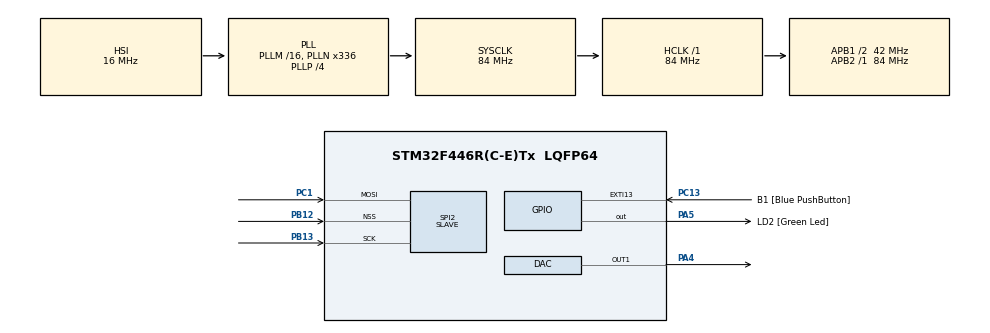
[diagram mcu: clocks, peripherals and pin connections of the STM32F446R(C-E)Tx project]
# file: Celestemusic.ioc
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DAC.DAC_Trigger=DAC_TRIGGER_T6_TRGO
Dma.DAC1.0.Direction=DMA_MEMORY_TO_PERIPH
Dma.DAC1.0.FIFOMode=DMA_FIFOMODE_DISABLE
Dma.DAC1.0.Instance=DMA1_Stream5
Dma.DAC1.0.MemDataAlignment=DMA_MDATAALIGN_HALFWORD
Dma.DAC1.0.MemInc=DMA_MINC_ENABLE
Dma.DAC1.0.Mode=DMA_CIRCULAR
Dma.DAC1.0.PeriphDataAlignment=DMA_PDATAALIGN_HALFWORD
Dma.DAC1.0.PeriphInc=DMA_PINC_DISABLE
Dma.DAC1.0.Priority=DMA_PRIORITY_LOW
Dma.Request0=DAC1
Mcu.Family=STM32F4
Mcu.Name=STM32F446R(C-E)Tx
Mcu.Package=LQFP64
NVIC.DMA1_Stream5_IRQn=true\:0\:0\:false\:false\:true\:false\:true\:true
NVIC.PriorityGroup=NVIC_PRIORITYGROUP_0
PA13.GPIO_Label=TMS
PA13.Signal=SYS_JTMS-SWDIO
PA14.GPIO_Label=TCK
PA14.Signal=SYS_JTCK-SWCLK
PA2.GPIO_Label=USART_TX
PA2.Signal=USART2_TX
PA3.GPIO_Label=USART_RX
PA3.Signal=USART2_RX
PA4.Signal=COMP_DAC1_group
PA5.GPIO_Label=LD2 [Green Led]
PA5.Signal=GPIO_Output
PB12.Mode=NSS_Signal_Hard_Input
PB12.Signal=SPI2_NSS
PB13.Mode=RX_Only_Simplex_Unidirect_Slave
PB13.Signal=SPI2_SCK
PB3.GPIO_Label=SWO
PB3.Signal=SYS_JTDO-SWO
PC1.Mode=RX_Only_Simplex_Unidirect_Slave
PC1.Signal=SPI2_MOSI
PC13.GPIO_Label=B1 [Blue PushButton]
PC13.GPIO_ModeDefaultEXTI=GPIO_MODE_IT_FALLING
PC13.Signal=GPXTI13
PC14-OSC32_IN.Signal=RCC_OSC32_IN
PC15-OSC32_OUT.Signal=RCC_OSC32_OUT
PH0-OSC_IN.Signal=RCC_OSC_IN
PH1-OSC_OUT.Signal=RCC_OSC_OUT
ProjectManager.HeapSize=0x200
ProjectManager.StackSize=0x400
ProjectManager.TargetToolchain=STM32CubeIDE
RCC.AHBFreq_Value=84000000
RCC.APB1CLKDivider=RCC_HCLK_DIV2
RCC.APB1Freq_Value=42000000
RCC.APB1TimFreq_Value=84000000
RCC.APB2Freq_Value=84000000
RCC.APB2TimFreq_Value=84000000
RCC.CortexFreq_Value=84000000
RCC.FLatency-AdvancedSettings=FLASH_LATENCY_2
RCC.HCLKFreq_Value=84000000
RCC.HSE_VALUE=8000000
RCC.HSI_VALUE=16000000
RCC.LSE_VALUE=32768
RCC.PLLN=336
RCC.PLLP=RCC_PLLP_DIV4
RCC.SYSCLKFreq_VALUE=84000000
RCC.SYSCLKSource=RCC_SYSCLKSOURCE_PLLCLK
RCC.USBFreq_Value=168000000
RCC.VCOOutputFreq_Value=336000000
SH.COMP_DAC1_group.0=DAC_OUT1,DAC_OUT1
SPI2.Direction=SPI_DIRECTION_2LINES_RXONLY
SPI2.Mode=SPI_MODE_SLAVE
SPI2.VirtualNSS=VM_NSSHARD
SPI2.VirtualType=VM_SLAVE
TIM6.Period=1000-1
TIM6.TIM_MasterOutputTrigger=TIM_TRGO_UPDATE
VP_TIM6_VS_ClockSourceINT.Mode=Enable_Timer
board=NUCLEO-F446RE

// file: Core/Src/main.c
/* USER CODE BEGIN Header */
/**
  ******************************************************************************
  * @file           : main.c
  * @brief          : Main program body
  ******************************************************************************
  * @attention
  *
  * Copyright (c) 2026 STMicroelectronics.
  * All rights reserved.
  *
  * This software is licensed under terms that can be found in the LICENSE file
  * in the root directory of this software component.
  * If no LICENSE file comes with this software, it is provided AS-IS.
  *
  ******************************************************************************
  */
/* USER CODE END Header */
#include "main.h"

/* USER CODE BEGIN Includes */
#include "../../main_menu.h"
#include "../../main_theme.h"

/* USER CODE END Includes */

/* USER CODE BEGIN PTD */
typedef struct
{
  const uint16_t *frequencies;
  const uint16_t *durations;
  uint16_t length;
  uint8_t command;
} MusicTrack_t;

/* USER CODE END PTD */

/* USER CODE BEGIN PD */
#define MUSIC_TIM6_CLOCK_HZ 84000000ULL
#define MUSIC_SINE_SAMPLE_COUNT 128U
#define MUSIC_TIM6_ARR_MIN 1U
#define MUSIC_TIM6_ARR_MAX 65535U
#define MUSIC_DAC_SILENCE 2048U
#define MUSIC_VOLUME_PERCENT 50U
#define MUSIC_COMMAND_NONE 0U
#define MUSIC_COMMAND_MENU ((uint8_t)'M')
#define MUSIC_COMMAND_THEME ((uint8_t)'T')

#if MUSIC_VOLUME_PERCENT > 100U
#error "MUSIC_VOLUME_PERCENT debe estar entre 0 y 100"
#endif

/* USER CODE END PD */

DAC_HandleTypeDef hdac;
DMA_HandleTypeDef hdma_dac1;

SPI_HandleTypeDef hspi2;

TIM_HandleTypeDef htim6;

/* USER CODE BEGIN PV */
/* Una vuelta completa de la onda que genera cada nota. */
static const uint16_t music_sine_lut[MUSIC_SINE_SAMPLE_COUNT] =
{
  2048, 2148, 2248, 2348, 2447, 2545, 2642, 2737,
  2831, 2923, 3013, 3100, 3185, 3267, 3346, 3423,
  3495, 3565, 3630, 3692, 3750, 3804, 3853, 3898,
  3939, 3975, 4007, 4034, 4056, 4073, 4085, 4093,
  4095, 4093, 4085, 4073, 4056, 4034, 4007, 3975,
  3939, 3898, 3853, 3804, 3750, 3692, 3630, 3565,
  3495, 3423, 3346, 3267, 3185, 3100, 3013, 2923,
  2831, 2737, 2642, 2545, 2447, 2348, 2248, 2148,
  2048, 1947, 1847, 1747, 1648, 1550, 1453, 1358,
  1264, 1172, 1082,  995,  910,  828,  749,  672,
   600,  530,  465,  403,  345,  291,  242,  197,
   156,  120,   88,   61,   39,   22,   10,    2,
     0,    2,   10,   22,   39,   61,   88,  120,
   156,  197,  242,  291,  345,  403,  465,  530,
   600,  672,  749,  828,  910,  995, 1082, 1172,
  1264, 1358, 1453, 1550, 1648, 1747, 1847, 1947
};

/* Conserva el centro del DAC y cambia solamente la amplitud. */
static uint16_t music_output_lut[MUSIC_SINE_SAMPLE_COUNT];

static const MusicTrack_t music_tracks[] =
{
  {main_menu_freqs, main_menu_durations, MAIN_MENU_LEN, MUSIC_COMMAND_MENU},
  {main_theme_freqs, main_theme_durations, MAIN_THEME_LEN, MUSIC_COMMAND_THEME}
};

static volatile uint8_t music_pending_command = MUSIC_COMMAND_NONE;
static const MusicTrack_t *music_active_track;
static uint8_t music_active_command = MUSIC_COMMAND_NONE;
static uint16_t music_note_index;
static uint32_t music_note_deadline_ms;
static uint8_t music_note_started;
static volatile uint32_t music_spi_valid_commands;
static volatile uint32_t music_spi_errors;
static volatile uint8_t music_spi_last_command;

/* USER CODE END PV */

void SystemClock_Config(void);
static void MX_GPIO_Init(void);
static void MX_DMA_Init(void);
static void MX_DAC_Init(void);
static void MX_TIM6_Init(void);
static void MX_SPI2_Init(void);
/* USER CODE BEGIN PFP */
static uint32_t Music_CalculateTimerPeriod(uint16_t frequency_hz);
static void Music_PrepareOutputLut(void);
static void Music_ReadSpi(void);
static void Music_SetFrequency(uint16_t frequency_hz);
static const MusicTrack_t *Music_FindTrack(uint8_t command);
static void Music_Select(uint8_t command, uint32_t now_ms);
static void Music_Update(uint32_t now_ms);
static void Music_Init(void);

/* USER CODE END PFP */

/* USER CODE BEGIN 0 */
/* Prepara una onda con el volumen seleccionado, centrada en 2048. */
static void Music_PrepareOutputLut(void)
{
  uint16_t index;

  for (index = 0U; index < MUSIC_SINE_SAMPLE_COUNT; index++)
  {
    int32_t centered =
        (int32_t)music_sine_lut[index] - (int32_t)MUSIC_DAC_SILENCE;

    music_output_lut[index] = (uint16_t)(
        (int32_t)MUSIC_DAC_SILENCE +
        ((centered * (int32_t)MUSIC_VOLUME_PERCENT) / 100));
  }
}

/* Lee un byte de SPI2 sin detener la reproducción. */
static void Music_ReadSpi(void)
{
  uint32_t status = hspi2.Instance->SR;

  if ((status & SPI_SR_OVR) != 0U)
  {
    (void)(*(__IO uint8_t *)&hspi2.Instance->DR);
    (void)hspi2.Instance->SR; /* Leer DR y SR limpia el overrun. */
    music_spi_errors++;
    return;
  }

  if ((status & SPI_SR_RXNE) != 0U)
  {
    uint8_t command = *(__IO uint8_t *)&hspi2.Instance->DR;

    if (command == MUSIC_COMMAND_MENU ||
        command == MUSIC_COMMAND_THEME)
    {
      music_pending_command = command;
      music_spi_last_command = command;
      music_spi_valid_commands++;
    }
    else
    {
      music_spi_errors++;
    }
  }
}

/* Calcula el periodo que produce la frecuencia solicitada. */
static uint32_t Music_CalculateTimerPeriod(uint16_t frequency_hz)
{
  uint64_t divider;
  uint64_t timer_counts;

  if (frequency_hz == 0U)
  {
    return MUSIC_TIM6_ARR_MAX;
  }

  divider = (uint64_t)MUSIC_SINE_SAMPLE_COUNT * frequency_hz;
  timer_counts = (MUSIC_TIM6_CLOCK_HZ + (divider / 2ULL)) / divider;

  if (timer_counts <= ((uint64_t)MUSIC_TIM6_ARR_MIN + 1ULL))
  {
    return MUSIC_TIM6_ARR_MIN;
  }
  if ((timer_counts - 1ULL) > MUSIC_TIM6_ARR_MAX)
  {
    return MUSIC_TIM6_ARR_MAX;
  }

  return (uint32_t)(timer_counts - 1ULL);
}

/* Cambia la frecuencia sin detener el resto del programa. */
static void Music_SetFrequency(uint16_t frequency_hz)
{
  (void)HAL_TIM_Base_Stop(&htim6);

  if (frequency_hz == 0U)
  {
    (void)HAL_DAC_SetValue(&hdac,
                          DAC_CHANNEL_1,
                          DAC_ALIGN_12B_R,
                          MUSIC_DAC_SILENCE);
    if (HAL_TIM_GenerateEvent(&htim6, TIM_EVENTSOURCE_UPDATE) != HAL_OK)
    {
      Error_Handler();
    }
    return;
  }

  __HAL_TIM_SET_AUTORELOAD(&htim6,
                           Music_CalculateTimerPeriod(frequency_hz));
  __HAL_TIM_SET_COUNTER(&htim6, 0U);
  __HAL_TIM_CLEAR_FLAG(&htim6, TIM_FLAG_UPDATE);

  if (HAL_TIM_Base_Start(&htim6) != HAL_OK)
  {
    Error_Handler();
  }
}

/* Busca la canción asociada al byte recibido. */
static const MusicTrack_t *Music_FindTrack(uint8_t command)
{
  uint8_t index;

  for (index = 0U;
       index < (uint8_t)(sizeof(music_tracks) / sizeof(music_tracks[0]));
       index++)
  {
    if (music_tracks[index].command == command)
    {
      return &music_tracks[index];
    }
  }

  return 0;
}

/* Una canción nueva siempre comienza desde su primera nota. */
static void Music_Select(uint8_t command, uint32_t now_ms)
{
  const MusicTrack_t *track = Music_FindTrack(command);

  if (track == 0 || command == music_active_command)
  {
    return;
  }

  Music_SetFrequency(0U);
  music_active_track = track;
  music_active_command = command;
  music_note_index = 0U;
  music_note_deadline_ms = now_ms;
  music_note_started = 0U;

  /* El LED permite comprobar el cambio aun sin conectar la bocina. */
  HAL_GPIO_WritePin(LD2_GPIO_Port,
                    LD2_Pin,
                    command == MUSIC_COMMAND_THEME
                        ? GPIO_PIN_SET
                        : GPIO_PIN_RESET);
}

/* Avanza las notas usando tiempo, sin bloquear la recepción SPI. */
static void Music_Update(uint32_t now_ms)
{
  uint8_t pending_command = music_pending_command;

  if (pending_command != MUSIC_COMMAND_NONE)
  {
    music_pending_command = MUSIC_COMMAND_NONE;
    Music_Select(pending_command, now_ms);
  }

  if (music_active_track == 0)
  {
    Music_Select(MUSIC_COMMAND_MENU, now_ms);
  }

  if (music_note_started != 0U &&
      (int32_t)(now_ms - music_note_deadline_ms) < 0)
  {
    return;
  }

  if (music_note_started != 0U)
  {
    music_note_index++;
    if (music_note_index >= music_active_track->length)
    {
      music_note_index = 0U; /* Repite la canción completa. */
    }
  }

  Music_SetFrequency(music_active_track->frequencies[music_note_index]);
  music_note_deadline_ms =
      now_ms + music_active_track->durations[music_note_index];
  music_note_started = 1U;
}

/* Deja preparado el DAC y escucha el primer comando. */
static void Music_Init(void)
{
  Music_PrepareOutputLut();
  __HAL_SPI_ENABLE(&hspi2); /* El esclavo queda listo para recibir. */

  if (HAL_DAC_Start_DMA(&hdac,
                        DAC_CHANNEL_1,
                        (uint32_t *)music_output_lut,
                        MUSIC_SINE_SAMPLE_COUNT,
                        DAC_ALIGN_12B_R) != HAL_OK)
  {
    Error_Handler();
  }

  Music_Select(MUSIC_COMMAND_MENU, HAL_GetTick());
  Music_Update(HAL_GetTick());
}

/* USER CODE END 0 */

int main(void)
{

  /* MCU Configuration--------------------------------------------------------*/

  /* Reset of all peripherals, Initializes the Flash interface and the Systick. */
  HAL_Init();

  /* Configure the system clock */
  SystemClock_Config();

  /* Initialize all configured peripherals */
  MX_GPIO_Init();
  MX_DMA_Init();
  MX_DAC_Init();
  MX_TIM6_Init();
  MX_SPI2_Init();
  /* USER CODE BEGIN 2 */
  /* Inicia la salida de audio y selecciona el tema del menú. */
  Music_Init();

  /* USER CODE END 2 */

  /* Infinite loop */
  while (1)
  {

    /* USER CODE BEGIN 3 */
    /* Recibe cambios de tema y avanza la canción sin bloquear. */
    Music_ReadSpi();
    Music_Update(HAL_GetTick());
  }
  /* USER CODE END 3 */
}

void SystemClock_Config(void)
{
  RCC_OscInitTypeDef RCC_OscInitStruct = {0};
  RCC_ClkInitTypeDef RCC_ClkInitStruct = {0};

  /** Configure the main internal regulator output voltage
  */
  __HAL_RCC_PWR_CLK_ENABLE();
  __HAL_PWR_VOLTAGESCALING_CONFIG(PWR_REGULATOR_VOLTAGE_SCALE3);

  /** Initializes the RCC Oscillators according to the specified parameters
  * in the RCC_OscInitTypeDef structure.
  */
  RCC_OscInitStruct.OscillatorType = RCC_OSCILLATORTYPE_HSI;
  RCC_OscInitStruct.HSIState = RCC_HSI_ON;
  RCC_OscInitStruct.HSICalibrationValue = RCC_HSICALIBRATION_DEFAULT;
  RCC_OscInitStruct.PLL.PLLState = RCC_PLL_ON;
  RCC_OscInitStruct.PLL.PLLSource = RCC_PLLSOURCE_HSI;
  RCC_OscInitStruct.PLL.PLLM = 16;
  RCC_OscInitStruct.PLL.PLLN = 336;
  RCC_OscInitStruct.PLL.PLLP = RCC_PLLP_DIV4;
  RCC_OscInitStruct.PLL.PLLQ = 2;
  RCC_OscInitStruct.PLL.PLLR = 2;
  if (HAL_RCC_OscConfig(&RCC_OscInitStruct) != HAL_OK)
  {
    Error_Handler();
  }

  /** Initializes the CPU, AHB and APB buses clocks
  */
  RCC_ClkInitStruct.ClockType = RCC_CLOCKTYPE_HCLK|RCC_CLOCKTYPE_SYSCLK
                              |RCC_CLOCKTYPE_PCLK1|RCC_CLOCKTYPE_PCLK2;
  RCC_ClkInitStruct.SYSCLKSource = RCC_SYSCLKSOURCE_PLLCLK;
  RCC_ClkInitStruct.AHBCLKDivider = RCC_SYSCLK_DIV1;
  RCC_ClkInitStruct.APB1CLKDivider = RCC_HCLK_DIV2;
  RCC_ClkInitStruct.APB2CLKDivider = RCC_HCLK_DIV1;

  if (HAL_RCC_ClockConfig(&RCC_ClkInitStruct, FLASH_LATENCY_2) != HAL_OK)
  {
    Error_Handler();
  }
}

static void MX_DAC_Init(void)
{

  DAC_ChannelConfTypeDef sConfig = {0};

  /** DAC Initialization
  */
  hdac.Instance = DAC;
  if (HAL_DAC_Init(&hdac) != HAL_OK)
  {
    Error_Handler();
  }

  /** DAC channel OUT1 config
  */
  sConfig.DAC_Trigger = DAC_TRIGGER_T6_TRGO;
  sConfig.DAC_OutputBuffer = DAC_OUTPUTBUFFER_ENABLE;
  if (HAL_DAC_ConfigChannel(&hdac, &sConfig, DAC_CHANNEL_1) != HAL_OK)
  {
    Error_Handler();
  }

}

static void MX_SPI2_Init(void)
{

  /* SPI2 parameter configuration*/
  hspi2.Instance = SPI2;
  hspi2.Init.Mode = SPI_MODE_SLAVE;
  hspi2.Init.Direction = SPI_DIRECTION_2LINES_RXONLY;
  hspi2.Init.DataSize = SPI_DATASIZE_8BIT;
  hspi2.Init.CLKPolarity = SPI_POLARITY_LOW;
  hspi2.Init.CLKPhase = SPI_PHASE_1EDGE;
  hspi2.Init.NSS = SPI_NSS_HARD_INPUT;
  hspi2.Init.FirstBit = SPI_FIRSTBIT_MSB;
  hspi2.Init.TIMode = SPI_TIMODE_DISABLE;
  hspi2.Init.CRCCalculation = SPI_CRCCALCULATION_DISABLE;
  hspi2.Init.CRCPolynomial = 10;
  if (HAL_SPI_Init(&hspi2) != HAL_OK)
  {
    Error_Handler();
  }

}

static void MX_TIM6_Init(void)
{

  TIM_MasterConfigTypeDef sMasterConfig = {0};

  htim6.Instance = TIM6;
  htim6.Init.Prescaler = 0;
  htim6.Init.CounterMode = TIM_COUNTERMODE_UP;
  htim6.Init.Period = 1000-1;
  htim6.Init.AutoReloadPreload = TIM_AUTORELOAD_PRELOAD_DISABLE;
  if (HAL_TIM_Base_Init(&htim6) != HAL_OK)
  {
    Error_Handler();
  }
  sMasterConfig.MasterOutputTrigger = TIM_TRGO_UPDATE;
  sMasterConfig.MasterSlaveMode = TIM_MASTERSLAVEMODE_DISABLE;
  if (HAL_TIMEx_MasterConfigSynchronization(&htim6, &sMasterConfig) != HAL_OK)
  {
    Error_Handler();
  }

}

static void MX_DMA_Init(void)
{

  /* DMA controller clock enable */
  __HAL_RCC_DMA1_CLK_ENABLE();

  /* DMA interrupt init */
  /* DMA1_Stream5_IRQn interrupt configuration */
  HAL_NVIC_SetPriority(DMA1_Stream5_IRQn, 0, 0);
  HAL_NVIC_EnableIRQ(DMA1_Stream5_IRQn);

}

static void MX_GPIO_Init(void)
{
  GPIO_InitTypeDef GPIO_InitStruct = {0};

  /* GPIO Ports Clock Enable */
  __HAL_RCC_GPIOC_CLK_ENABLE();
  __HAL_RCC_GPIOH_CLK_ENABLE();
  __HAL_RCC_GPIOA_CLK_ENABLE();
  __HAL_RCC_GPIOB_CLK_ENABLE();

  /*Configure GPIO pin Output Level */
  HAL_GPIO_WritePin(LD2_GPIO_Port, LD2_Pin, GPIO_PIN_RESET);

  /*Configure GPIO pin : B1_Pin */
  GPIO_InitStruct.Pin = B1_Pin;
  GPIO_InitStruct.Mode = GPIO_MODE_IT_FALLING;
  GPIO_InitStruct.Pull = GPIO_NOPULL;
  HAL_GPIO_Init(B1_GPIO_Port, &GPIO_InitStruct);

  /*Configure GPIO pins : USART_TX_Pin USART_RX_Pin */
  GPIO_InitStruct.Pin = USART_TX_Pin|USART_RX_Pin;
  GPIO_InitStruct.Mode = GPIO_MODE_AF_PP;
  GPIO_InitStruct.Pull = GPIO_NOPULL;
  GPIO_InitStruct.Speed = GPIO_SPEED_FREQ_VERY_HIGH;
  GPIO_InitStruct.Alternate = GPIO_AF7_USART2;
  HAL_GPIO_Init(GPIOA, &GPIO_InitStruct);

  /*Configure GPIO pin : LD2_Pin */
  GPIO_InitStruct.Pin = LD2_Pin;
  GPIO_InitStruct.Mode = GPIO_MODE_OUTPUT_PP;
  GPIO_InitStruct.Pull = GPIO_NOPULL;
  GPIO_InitStruct.Speed = GPIO_SPEED_FREQ_LOW;
  HAL_GPIO_Init(LD2_GPIO_Port, &GPIO_InitStruct);

}

void Error_Handler(void)
{
  __disable_irq();
  while (1)
  {
  }
}
